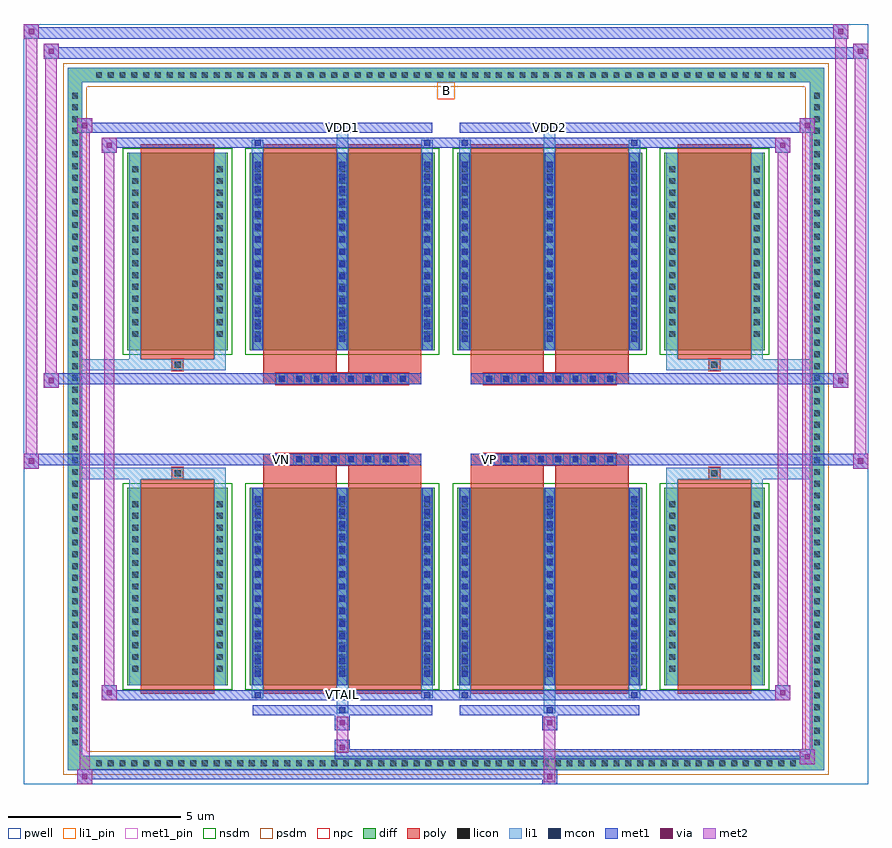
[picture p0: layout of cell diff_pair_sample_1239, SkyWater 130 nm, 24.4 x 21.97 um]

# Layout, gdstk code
import gdstk
lib = gdstk.Library(unit=1e-6, precision=5e-09)
def R(c, l, rs):  # rectangles x0, y0, x1, y1
    for r in rs: c.add(gdstk.rectangle(r[:2], r[2:], *l))
def A(c, l, x, y, w, h, nx, ny, dx, dy):  # array of equal rectangles
    R(c, l, [(x+i*dx, y+j*dy, x+i*dx+w, y+j*dy+h) for i in range(nx) for j in range(ny)])
def P(c, l, *ps):  # polygons
    for p in ps: c.add(gdstk.Polygon(p, *l))
pwell = (64, 44)
diff = (65, 20)
poly = (66, 20)
licon = (66, 44)
li1_pin = (67, 16)
li1 = (67, 20)
mcon = (67, 44)
met1_pin = (68, 16)
met1 = (68, 20)
via = (68, 44)
met2 = (69, 20)
nsdm = (93, 44)
psdm = (94, 20)
npc = (95, 20)

diff_pair_sample_1239 = lib.new_cell('diff_pair_sample_1239')
R(diff_pair_sample_1239, pwell, [(-12.2,-10.55,12.2,11.42), (-9.52,-8.74,-0.01,-0.8), (0.01,-8.74,9.52,-0.8), (-9.52,0.8,-0.01,8.74), (0.01,0.8,9.52,8.74)])
A(diff_pair_sample_1239, diff, -10.235, -10.15, 0.41, 0.41, 60, 2, 0.34, 19.89)
A(diff_pair_sample_1239, diff, -10.93, -9.555, 0.41, 0.41, 1, 56, 0, 0.34)
A(diff_pair_sample_1239, diff, 10.52, -9.555, 0.41, 0.41, 1, 56, 0, 0.34)
R(diff_pair_sample_1239, diff, [(-10.235,-10.15,10.235,-9.74), (-10.93,-9.555,-10.52,9.555), (10.52,-9.555,10.93,9.555), (-9.21,-7.695,-6.31,-1.985), (-5.67,-7.695,-0.32,-1.985), (0.32,-7.695,5.67,-1.985), (6.31,-7.695,9.21,-1.985), (-9.21,1.985,-6.31,7.695), (-5.67,1.985,-0.32,7.695), (0.32,1.985,5.67,7.695), (6.31,1.985,9.21,7.695), (-10.235,9.74,10.235,10.15)])
P(diff_pair_sample_1239, diff, [(10.93,10.15),(-10.93,10.15),(-10.93,-9.74),(-10.52,-9.74),(-10.52,9.74),(10.52,9.74),(10.52,-9.74),(-10.52,-9.74),(-10.93,-9.74),(-10.93,-10.15),(10.93,-10.15)])
A(diff_pair_sample_1239, poly, -4.91, -1.33, 0.33, 0.33, 8, 2, 0.5, 2.33)
A(diff_pair_sample_1239, poly, 1.08, -1.33, 0.33, 0.33, 8, 2, 0.5, 2.33)
R(diff_pair_sample_1239, poly, [(-8.82,-7.945,-6.7,-1.735), (-5.28,-7.945,-3.16,-1.735), (-2.83,-7.945,-0.71,-1.735), (0.71,-7.945,2.83,-1.735), (3.16,-7.945,5.28,-1.735), (6.7,-7.945,8.82,-1.735), (-7.925,-1.735,-7.595,-1.405), (-7.925,-1.735,-7.595,-1.405), (-5.28,-1.735,-3.16,-1.33), (-2.83,-1.735,-0.71,-1.33), (0.71,-1.735,2.83,-1.33), (3.16,-1.735,5.28,-1.33), (7.595,-1.735,7.925,-1.405), (7.595,-1.735,7.925,-1.405), (-5.28,-1.33,-0.71,-1), (0.71,-1.33,5.28,-1), (-5.28,1,-0.71,1.33), (0.71,1,5.28,1.33), (-5.28,1.33,-3.16,1.735), (-2.83,1.33,-0.71,1.735), (0.71,1.33,2.83,1.735), (3.16,1.33,5.28,1.735), (-7.925,1.405,-7.595,1.735), (-7.925,1.405,-7.595,1.735), (7.595,1.405,7.925,1.735), (7.595,1.405,7.925,1.735), (-8.82,1.735,-6.7,7.945), (-5.28,1.735,-3.16,7.945), (-2.83,1.735,-0.71,7.945), (0.71,1.735,2.83,7.945), (3.16,1.735,5.28,7.945), (6.7,1.735,8.82,7.945)])
A(diff_pair_sample_1239, licon, -10.115, -10.03, 0.17, 0.17, 60, 2, 0.34, 19.89)
A(diff_pair_sample_1239, licon, -10.81, -9.435, 0.17, 0.17, 1, 56, 0, 0.34)
A(diff_pair_sample_1239, licon, 10.64, -9.435, 0.17, 0.17, 1, 56, 0, 0.34)
A(diff_pair_sample_1239, licon, -9.07, -7.305, 0.17, 0.17, 1, 15, 0, 0.34)
A(diff_pair_sample_1239, licon, -6.62, -7.305, 0.17, 0.17, 1, 15, 0, 0.34)
A(diff_pair_sample_1239, licon, -5.53, -7.305, 0.17, 0.17, 3, 15, 2.45, 0.34)
A(diff_pair_sample_1239, licon, 0.46, -7.305, 0.17, 0.17, 3, 15, 2.45, 0.34)
A(diff_pair_sample_1239, licon, 6.45, -7.305, 0.17, 0.17, 1, 15, 0, 0.34)
A(diff_pair_sample_1239, licon, 8.9, -7.305, 0.17, 0.17, 1, 15, 0, 0.34)
A(diff_pair_sample_1239, licon, -4.83, -1.25, 0.17, 0.17, 8, 2, 0.5, 2.33)
A(diff_pair_sample_1239, licon, 1.16, -1.25, 0.17, 0.17, 8, 2, 0.5, 2.33)
A(diff_pair_sample_1239, licon, -9.07, 2.375, 0.17, 0.17, 1, 15, 0, 0.34)
A(diff_pair_sample_1239, licon, -6.62, 2.375, 0.17, 0.17, 1, 15, 0, 0.34)
A(diff_pair_sample_1239, licon, -5.53, 2.375, 0.17, 0.17, 3, 15, 2.45, 0.34)
A(diff_pair_sample_1239, licon, 0.46, 2.375, 0.17, 0.17, 3, 15, 2.45, 0.34)
A(diff_pair_sample_1239, licon, 6.45, 2.375, 0.17, 0.17, 1, 15, 0, 0.34)
A(diff_pair_sample_1239, licon, 8.9, 2.375, 0.17, 0.17, 1, 15, 0, 0.34)
R(diff_pair_sample_1239, licon, [(-7.845,-1.655,-7.675,-1.485), (7.675,-1.655,7.845,-1.485), (-7.845,1.485,-7.675,1.655), (7.675,1.485,7.845,1.655)])
R(diff_pair_sample_1239, li1_pin, [(-0.25,9.24,0.25,9.74)])
A(diff_pair_sample_1239, li1, -10.195, -10.11, 0.33, 0.33, 60, 2, 0.34, 19.89)
A(diff_pair_sample_1239, li1, -10.89, -9.515, 0.33, 0.33, 1, 56, 0, 0.34)
A(diff_pair_sample_1239, li1, 10.56, -9.515, 0.33, 0.33, 1, 56, 0, 0.34)
A(diff_pair_sample_1239, li1, -5.61, -7.695, 0.33, 5.71, 3, 2, 2.45, 9.68)
A(diff_pair_sample_1239, li1, 0.38, -7.695, 0.33, 5.71, 3, 2, 2.45, 9.68)
A(diff_pair_sample_1239, li1, -5.53, -7.445, 0.17, 0.17, 3, 15, 2.45, 0.36)
A(diff_pair_sample_1239, li1, -5.53, -7.445, 0.17, 5.21, 3, 2, 2.45, 9.68)
A(diff_pair_sample_1239, li1, 0.46, -7.445, 0.17, 0.17, 3, 15, 2.45, 0.36)
A(diff_pair_sample_1239, li1, 0.46, -7.445, 0.17, 5.21, 3, 2, 2.45, 9.68)
A(diff_pair_sample_1239, li1, -9.15, -7.385, 0.33, 0.33, 1, 15, 0, 0.34)
A(diff_pair_sample_1239, li1, -6.7, -7.385, 0.33, 0.33, 1, 15, 0, 0.34)
A(diff_pair_sample_1239, li1, -5.61, -7.385, 0.33, 0.33, 3, 15, 2.45, 0.34)
A(diff_pair_sample_1239, li1, 0.38, -7.385, 0.33, 0.33, 3, 15, 2.45, 0.34)
A(diff_pair_sample_1239, li1, 6.37, -7.385, 0.33, 0.33, 1, 15, 0, 0.34)
A(diff_pair_sample_1239, li1, 8.82, -7.385, 0.33, 0.33, 1, 15, 0, 0.34)
A(diff_pair_sample_1239, li1, -4.91, -1.33, 0.33, 0.33, 8, 2, 0.5, 2.33)
A(diff_pair_sample_1239, li1, 1.08, -1.33, 0.33, 0.33, 8, 2, 0.5, 2.33)
A(diff_pair_sample_1239, li1, -5.53, 2.235, 0.17, 0.17, 3, 15, 2.45, 0.36)
A(diff_pair_sample_1239, li1, 0.46, 2.235, 0.17, 0.17, 3, 15, 2.45, 0.36)
A(diff_pair_sample_1239, li1, -9.15, 2.295, 0.33, 0.33, 1, 15, 0, 0.34)
A(diff_pair_sample_1239, li1, -6.7, 2.295, 0.33, 0.33, 1, 15, 0, 0.34)
A(diff_pair_sample_1239, li1, -5.61, 2.295, 0.33, 0.33, 3, 15, 2.45, 0.34)
A(diff_pair_sample_1239, li1, 0.38, 2.295, 0.33, 0.33, 3, 15, 2.45, 0.34)
A(diff_pair_sample_1239, li1, 6.37, 2.295, 0.33, 0.33, 1, 15, 0, 0.34)
A(diff_pair_sample_1239, li1, 8.82, 2.295, 0.33, 0.33, 1, 15, 0, 0.34)
R(diff_pair_sample_1239, li1, [(-10.93,-10.15,-10.52,-9.74), (-10.93,-10.15,-10.52,-9.74), (-10.52,-10.15,10.52,-9.74), (10.52,-10.15,10.93,-9.74), (10.52,-10.15,10.93,-9.74), (-10.93,-9.74,-10.52,9.74), (10.52,-9.74,10.93,9.74), (-3.16,-8.5,-2.83,-7.695), (-3.08,-8.5,-2.91,-8.33), (2.83,-8.5,3.16,-7.695), (2.91,-8.5,3.08,-8.33), (-5.61,-8.07,-5.28,-7.695), (-5.53,-8.07,-5.36,-7.9), (-0.71,-8.07,-0.38,-7.695), (-0.63,-8.07,-0.46,-7.9), (0.38,-8.07,0.71,-7.695), (0.46,-8.07,0.63,-7.9), (5.28,-8.07,5.61,-7.695), (5.36,-8.07,5.53,-7.9), (-9.15,-7.695,-8.82,-1.985), (-6.7,-7.695,-6.37,-1.985), (6.37,-7.695,6.7,-1.985), (8.82,-7.695,9.15,-1.985), (-9.15,-1.985,-8.82,-1.405), (-6.7,-1.985,-6.37,-1.405), (6.37,-1.985,6.7,-1.405), (8.82,-1.985,9.15,-1.405), (-10.93,-1.735,-7.925,-1.405), (-9.15,-1.735,-7.925,-1.405), (-7.925,-1.735,-7.595,-1.405), (-7.595,-1.735,-6.37,-1.405), (6.37,-1.735,7.595,-1.405), (7.595,-1.735,7.925,-1.405), (7.595,-1.735,10.93,-1.405), (7.925,-1.735,9.15,-1.405), (-10.93,1.405,-7.925,1.735), (-9.15,1.405,-7.925,1.735), (-9.15,1.405,-8.82,1.985), (-7.925,1.405,-7.595,1.735), (-7.595,1.405,-6.37,1.735), (-6.7,1.405,-6.37,1.985), (6.37,1.405,7.595,1.735), (6.37,1.405,6.7,1.985), (7.595,1.405,7.925,1.735), (7.595,1.405,10.93,1.735), (7.925,1.405,9.15,1.735), (8.82,1.405,9.15,1.985), (-9.15,1.985,-8.82,7.695), (-6.7,1.985,-6.37,7.695), (6.37,1.985,6.7,7.695), (8.82,1.985,9.15,7.695), (-5.61,7.695,-5.28,8.07), (-3.16,7.695,-2.83,8.5), (-0.71,7.695,-0.38,8.07), (0.38,7.695,0.71,8.07), (2.83,7.695,3.16,8.5), (5.28,7.695,5.61,8.07), (-5.53,7.9,-5.36,8.07), (-0.63,7.9,-0.46,8.07), (0.46,7.9,0.63,8.07), (5.36,7.9,5.53,8.07), (-3.08,8.33,-2.91,8.5), (2.91,8.33,3.08,8.5), (-10.93,9.74,-10.52,10.15), (-10.93,9.74,-10.52,10.15), (-10.52,9.74,10.52,10.15), (10.52,9.74,10.93,10.15), (10.52,9.74,10.93,10.15)])
A(diff_pair_sample_1239, mcon, -5.53, -7.445, 0.17, 0.17, 3, 15, 2.45, 0.36)
A(diff_pair_sample_1239, mcon, 0.46, -7.445, 0.17, 0.17, 3, 15, 2.45, 0.36)
A(diff_pair_sample_1239, mcon, -4.83, -1.25, 0.17, 0.17, 8, 2, 0.5, 2.33)
A(diff_pair_sample_1239, mcon, 1.16, -1.25, 0.17, 0.17, 8, 2, 0.5, 2.33)
A(diff_pair_sample_1239, mcon, -5.53, 2.235, 0.17, 0.17, 3, 15, 2.45, 0.36)
A(diff_pair_sample_1239, mcon, 0.46, 2.235, 0.17, 0.17, 3, 15, 2.45, 0.36)
R(diff_pair_sample_1239, mcon, [(-3.08,-8.5,-2.91,-8.33), (2.91,-8.5,3.08,-8.33), (-5.53,-8.07,-5.36,-7.9), (-0.63,-8.07,-0.46,-7.9), (0.46,-8.07,0.63,-7.9), (5.36,-8.07,5.53,-7.9), (-5.53,7.9,-5.36,8.07), (-0.63,7.9,-0.46,8.07), (0.46,7.9,0.63,8.07), (5.36,7.9,5.53,8.07), (-3.08,8.33,-2.91,8.5), (2.91,8.33,3.08,8.5)])
R(diff_pair_sample_1239, met1_pin, [(-3.13,-8.11,-2.86,-7.84), (-4.88,-1.29,-4.61,-1.02), (1.11,-1.29,1.38,-1.02), (-3.13,8.29,-2.86,8.56), (2.86,8.29,3.13,8.56)])
A(diff_pair_sample_1239, met1, -5.59, -7.695, 0.29, 5.71, 3, 2, 2.45, 9.68)
A(diff_pair_sample_1239, met1, 0.4, -7.695, 0.29, 5.71, 3, 2, 2.45, 9.68)
A(diff_pair_sample_1239, met1, -5.59, -7.505, 0.29, 0.29, 3, 15, 2.45, 0.36)
A(diff_pair_sample_1239, met1, 0.4, -7.505, 0.29, 0.29, 3, 15, 2.45, 0.36)
A(diff_pair_sample_1239, met1, -4.89, -1.31, 0.29, 0.29, 8, 2, 0.5, 2.33)
A(diff_pair_sample_1239, met1, 1.1, -1.31, 0.29, 0.29, 8, 2, 0.5, 2.33)
A(diff_pair_sample_1239, met1, -5.59, 2.175, 0.29, 0.29, 3, 15, 2.45, 0.36)
A(diff_pair_sample_1239, met1, 0.4, 2.175, 0.29, 0.29, 3, 15, 2.45, 0.36)
R(diff_pair_sample_1239, met1, [(-10.66,-10.55,-10.23,-10.12), (2.78,-10.55,3.21,-10.12), (-10.66,-10.41,3.21,-10.12), (10.23,-9.98,10.66,-9.55), (-3.21,-9.84,10.66,-9.55), (-3.21,-9.7,-2.78,-9.27), (-3.21,-8.99,-2.78,-8.56), (2.78,-8.99,3.21,-8.56), (-5.59,-8.56,-0.4,-8.27), (-3.14,-8.56,-2.85,-8.27), (0.4,-8.56,5.59,-8.27), (2.85,-8.56,3.14,-8.27), (-9.95,-8.13,-9.52,-7.7), (-9.95,-8.13,-5.59,-7.84), (-5.59,-8.13,-5.3,-7.84), (-5.59,-8.13,-0.4,-7.84), (-0.69,-8.13,-0.4,-7.84), (-0.4,-8.13,0.4,-7.84), (0.4,-8.13,0.69,-7.84), (0.4,-8.13,5.59,-7.84), (5.3,-8.13,5.59,-7.84), (5.59,-8.13,9.95,-7.84), (9.52,-8.13,9.95,-7.7), (-12.2,-1.43,-11.77,-1), (11.77,-1.43,12.2,-1), (-12.2,-1.33,-0.71,-1), (-5.28,-1.33,-0.71,-1), (0.71,-1.33,5.28,-1), (0.71,-1.33,12.2,-1), (-11.63,0.9,-11.2,1.33), (11.2,0.9,11.63,1.33), (-11.63,1,-5.28,1.33), (-5.28,1,-0.71,1.33), (0.71,1,5.28,1.33), (5.28,1,11.63,1.33), (-9.95,7.7,-9.52,8.13), (9.52,7.7,9.95,8.13), (-9.95,7.84,-5.59,8.13), (-5.59,7.84,-5.3,8.13), (-5.59,7.84,-0.4,8.13), (-0.69,7.84,-0.4,8.13), (-0.4,7.84,0.4,8.13), (0.4,7.84,0.69,8.13), (0.4,7.84,5.59,8.13), (5.3,7.84,5.59,8.13), (5.59,7.84,9.95,8.13), (-10.66,8.27,-10.23,8.7), (-10.66,8.27,-5.59,8.56), (-5.59,8.27,-0.4,8.56), (-3.14,8.27,-2.85,8.56), (0.4,8.27,5.59,8.56), (2.85,8.27,3.14,8.56), (5.59,8.27,10.66,8.56), (10.23,8.27,10.66,8.7), (-11.63,10.42,-11.2,10.85), (-11.63,10.42,-9.52,10.75), (-9.52,10.42,9.52,10.75), (9.52,10.42,12.2,10.75), (11.77,10.42,12.2,10.85), (-12.2,10.99,-11.77,11.42), (-12.2,10.99,-9.52,11.32), (-9.52,10.99,9.52,11.32), (9.52,10.99,11.63,11.32), (11.2,10.99,11.63,11.42)])
R(diff_pair_sample_1239, via, [(-10.52,-10.41,-10.37,-10.26), (2.92,-10.41,3.07,-10.26), (10.37,-9.84,10.52,-9.69), (-3.07,-9.56,-2.92,-9.41), (-3.07,-8.85,-2.92,-8.7), (2.92,-8.85,3.07,-8.7), (-9.81,-7.99,-9.66,-7.84), (9.66,-7.99,9.81,-7.84), (-12.06,-1.29,-11.91,-1.14), (11.91,-1.29,12.06,-1.14), (-11.49,1.04,-11.34,1.19), (11.34,1.04,11.49,1.19), (-9.81,7.84,-9.66,7.99), (9.66,7.84,9.81,7.99), (-10.52,8.41,-10.37,8.56), (10.37,8.41,10.52,8.56), (-11.49,10.56,-11.34,10.71), (11.91,10.56,12.06,10.71), (-12.06,11.13,-11.91,11.28), (11.34,11.13,11.49,11.28)])
R(diff_pair_sample_1239, met2, [(-10.66,-10.55,-10.23,-10.12), (-10.59,-10.55,-10.3,8.7), (-10.3,-10.55,-10.23,-10.12), (-10.61,-10.5,-10.28,-10.17), (2.83,-10.5,3.16,-10.17), (2.83,-10.17,3.16,-8.94), (10.23,-9.98,10.66,-9.55), (10.3,-9.98,10.59,8.7), (10.59,-9.98,10.66,-9.55), (10.28,-9.93,10.61,-9.6), (-3.16,-9.65,-2.83,-9.32), (-3.16,-9.32,-2.83,-8.94), (-3.16,-8.94,-2.83,-8.61), (2.83,-8.94,3.16,-8.61), (-9.95,-8.13,-9.52,-7.7), (-9.88,-8.13,-9.59,8.13), (-9.59,-8.13,-9.52,-7.7), (9.52,-8.13,9.95,-7.7), (9.59,-8.13,9.88,8.13), (9.88,-8.13,9.95,-7.7), (-9.9,-8.08,-9.57,-7.75), (9.57,-8.08,9.9,-7.75), (-12.2,-1.43,-11.77,-1), (-12.15,-1.43,-11.82,11.42), (-11.82,-1.43,-11.77,-1), (11.77,-1.43,12.2,-1), (11.82,-1.43,12.15,10.85), (12.15,-1.43,12.2,-1), (-12.15,-1.38,-11.82,-1.05), (11.82,-1.38,12.15,-1.05), (-11.63,0.9,-11.2,1.33), (-11.58,0.9,-11.25,10.85), (-11.25,0.9,-11.2,1.33), (11.2,0.9,11.63,1.33), (11.25,0.9,11.58,11.42), (11.58,0.9,11.63,1.33), (-11.58,0.95,-11.25,1.28), (11.25,0.95,11.58,1.28), (-9.95,7.7,-9.52,8.13), (-9.59,7.7,-9.52,8.13), (9.52,7.7,9.95,8.13), (9.88,7.7,9.95,8.13), (-9.9,7.75,-9.57,8.08), (9.57,7.75,9.9,8.08), (-10.66,8.27,-10.23,8.7), (-10.3,8.27,-10.23,8.7), (10.23,8.27,10.66,8.7), (10.59,8.27,10.66,8.7), (-10.61,8.32,-10.28,8.65), (10.28,8.32,10.61,8.65), (-11.63,10.42,-11.2,10.85), (-11.25,10.42,-11.2,10.85), (11.77,10.42,12.2,10.85), (12.15,10.42,12.2,10.85), (-11.58,10.47,-11.25,10.8), (11.82,10.47,12.15,10.8), (-12.2,10.99,-11.77,11.42), (-11.82,10.99,-11.77,11.42), (11.2,10.99,11.63,11.42), (11.58,10.99,11.63,11.42), (-12.15,11.04,-11.82,11.37), (11.25,11.04,11.58,11.37)])
R(diff_pair_sample_1239, nsdm, [(-9.34,-7.825,-6.18,-1.855), (-5.8,-7.825,-0.19,-1.855), (0.19,-7.825,5.8,-1.855), (6.18,-7.825,9.34,-1.855), (-9.34,1.855,-6.18,7.825), (-5.8,1.855,-0.19,7.825), (0.19,1.855,5.8,7.825), (6.18,1.855,9.34,7.825)])
P(diff_pair_sample_1239, psdm, [(11.06,10.28),(-11.06,10.28),(-11.06,-9.61),(-10.39,-9.61),(-10.39,9.61),(10.39,9.61),(10.39,-9.61),(-10.39,-9.61),(-11.06,-9.61),(-11.06,-10.28),(11.06,-10.28)])
A(diff_pair_sample_1239, npc, -4.93, -1.35, 0.37, 0.37, 8, 2, 0.5, 2.33)
A(diff_pair_sample_1239, npc, 1.06, -1.35, 0.37, 0.37, 8, 2, 0.5, 2.33)
R(diff_pair_sample_1239, npc, [(-7.945,-1.755,-7.575,-1.385), (7.575,-1.755,7.945,-1.385), (-4.93,-1.35,-4.06,-0.98), (-4.93,-1.35,-4.06,-0.98), (-4.43,-1.35,-3.56,-0.98), (-4.43,-1.35,-3.56,-0.98), (-3.93,-1.35,-3.06,-0.98), (-3.93,-1.35,-3.06,-0.98), (-3.43,-1.35,-2.56,-0.98), (-3.43,-1.35,-2.56,-0.98), (-2.93,-1.35,-2.06,-0.98), (-2.93,-1.35,-2.06,-0.98), (-2.43,-1.35,-1.56,-0.98), (-2.43,-1.35,-1.56,-0.98), (-1.93,-1.35,-1.06,-0.98), (-1.93,-1.35,-1.06,-0.98), (1.06,-1.35,1.93,-0.98), (1.06,-1.35,1.93,-0.98), (1.56,-1.35,2.43,-0.98), (1.56,-1.35,2.43,-0.98), (2.06,-1.35,2.93,-0.98), (2.06,-1.35,2.93,-0.98), (2.56,-1.35,3.43,-0.98), (2.56,-1.35,3.43,-0.98), (3.06,-1.35,3.93,-0.98), (3.06,-1.35,3.93,-0.98), (3.56,-1.35,4.43,-0.98), (3.56,-1.35,4.43,-0.98), (4.06,-1.35,4.93,-0.98), (4.06,-1.35,4.93,-0.98), (-4.93,0.98,-4.06,1.35), (-4.93,0.98,-4.06,1.35), (-4.43,0.98,-3.56,1.35), (-4.43,0.98,-3.56,1.35), (-3.93,0.98,-3.06,1.35), (-3.93,0.98,-3.06,1.35), (-3.43,0.98,-2.56,1.35), (-3.43,0.98,-2.56,1.35), (-2.93,0.98,-2.06,1.35), (-2.93,0.98,-2.06,1.35), (-2.43,0.98,-1.56,1.35), (-2.43,0.98,-1.56,1.35), (-1.93,0.98,-1.06,1.35), (-1.93,0.98,-1.06,1.35), (1.06,0.98,1.93,1.35), (1.06,0.98,1.93,1.35), (1.56,0.98,2.43,1.35), (1.56,0.98,2.43,1.35), (2.06,0.98,2.93,1.35), (2.06,0.98,2.93,1.35), (2.56,0.98,3.43,1.35), (2.56,0.98,3.43,1.35), (3.06,0.98,3.93,1.35), (3.06,0.98,3.93,1.35), (3.56,0.98,4.43,1.35), (3.56,0.98,4.43,1.35), (4.06,0.98,4.93,1.35), (4.06,0.98,4.93,1.35), (-7.945,1.385,-7.575,1.755), (7.575,1.385,7.945,1.755)])
diff_pair_sample_1239.add(gdstk.Label('VTAIL', (-2.995,-7.975), layer=68, texttype=5))
diff_pair_sample_1239.add(gdstk.Label('VN', (-4.745,-1.155), layer=68, texttype=5))
diff_pair_sample_1239.add(gdstk.Label('VP', (1.245,-1.155), layer=68, texttype=5))
diff_pair_sample_1239.add(gdstk.Label('B', (0,9.49), layer=67, texttype=5))
diff_pair_sample_1239.add(gdstk.Label('VDD2', (2.995,8.425), layer=68, texttype=5))
diff_pair_sample_1239.add(gdstk.Label('VDD1', (-2.995,8.425), layer=68, texttype=5))

lib.write_gds('diff_pair_sample_1239.gds')
